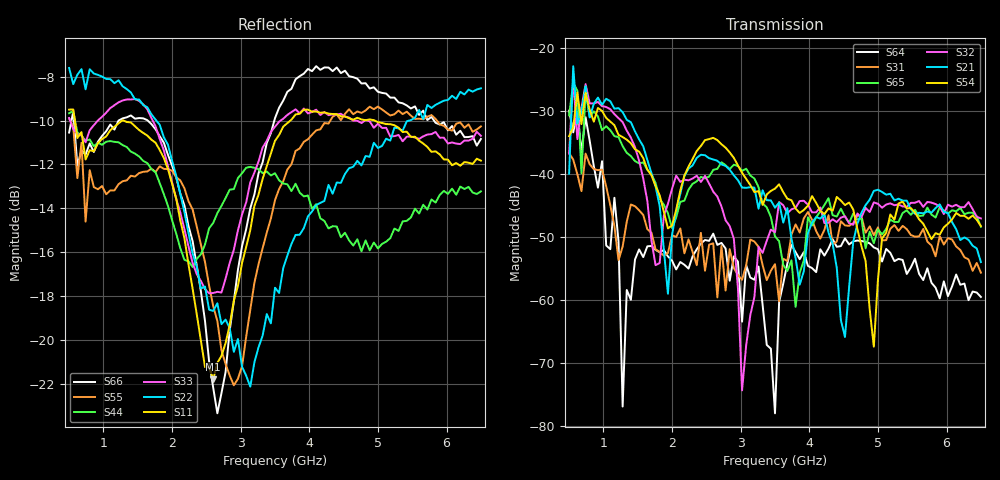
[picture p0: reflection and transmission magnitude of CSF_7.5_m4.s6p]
!Keysight Technologies,M9804A,MY58100912,A.14.10.03
!Date: Thursday, April 27, 2023 10:28:33
!Correction: S11(C  6-Port  )
!S12(C  6-Port  )
!S13(C  6-Port  )
!S14(C  6-Port  )
!S15(C  6-Port  )
!S16(C  6-Port  )
!S21(C  6-Port  )
!S22(C  6-Port  )
!S23(C  6-Port  )
!S24(C  6-Port  )
!S25(C  6-Port  )
!S26(C  6-Port  )
!S31(C  6-Port  )
!S32(C  6-Port  )
!S33(C  6-Port  )
!S34(C  6-Port  )
!S35(C  6-Port  )
!S36(C  6-Port  )
!S41(C  6-Port  )
!S42(C  6-Port  )
!S43(C  6-Port  )
!S44(C  6-Port  )
!S45(C  6-Port  )
!S46(C  6-Port  )
!S51(C  6-Port  )
!S52(C  6-Port  )
!S53(C  6-Port  )
!S54(C  6-Port  )
!S55(C  6-Port  )
!S56(C  6-Port  )
!S61(C  6-Port  )
!S62(C  6-Port  )
!S63(C  6-Port  )
!S64(C  6-Port  )
!S65(C  6-Port  )
!S66(C  6-Port  )
!S6P File: Measurement: :
# Hz S  RI  R 50
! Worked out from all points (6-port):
!   101 points, 500 MHz to 6.5 GHz, reference 50 ohm
!   strongest paths, dB at 500 MHz, 2 GHz, 3.5 GHz, 5 GHz, 6.5 GHz:
!     S54: -34.1, -48.2, -42.4, -56.8, -48.3
!     S21: -40.0, -49.7, -45.4, -42.5, -54.0
!     S32: -36.8, -42.4, -49.3, -44.8, -47.1
!     S65: -30.7, -48.6, -49.9, -48.8, -48.4
!     S31: -36.7, -49.7, -54.3, -48.5, -55.7
!     S64: -30.0, -53.8, -78.0, -52.0, -59.5
!   lowest |S11| = -21.8 dB at 2.6 GHz (marker M1), VSWR 1.18, Z = 42.7 + j1.96 ohm
!   |S11| at or under -10 dB: 583.5 MHz to 1.27 GHz (686.8 MHz wide, 74.1 % of centre); 1.297 GHz to 3.723 GHz (2.426 GHz wide, 96.7 % of centre); 4.955 GHz to end of sweep
